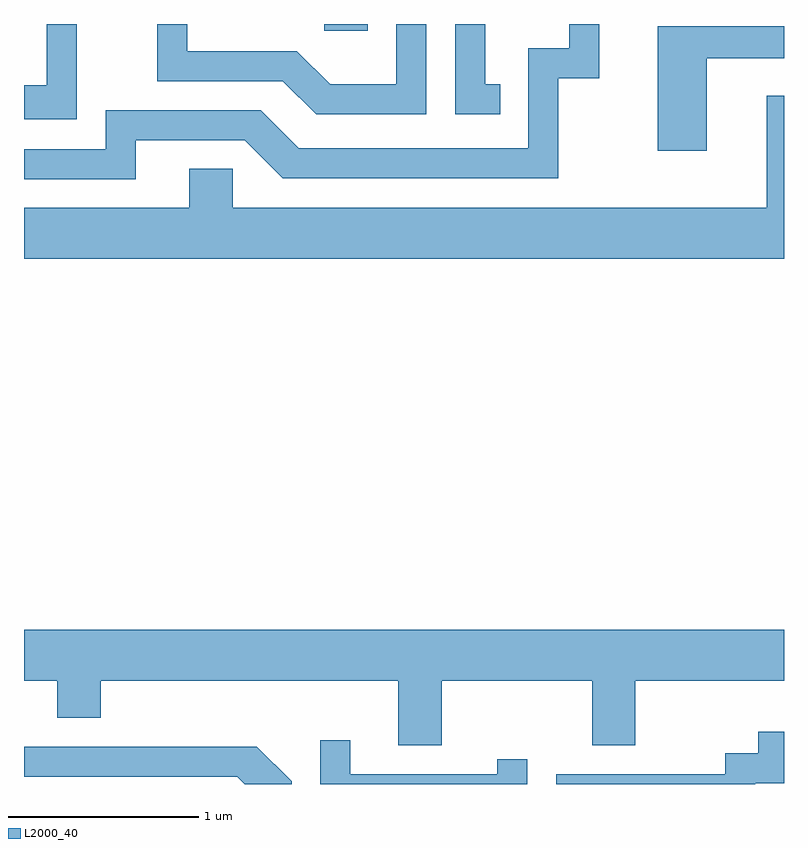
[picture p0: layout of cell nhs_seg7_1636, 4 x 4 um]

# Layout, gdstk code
import gdstk
lib = gdstk.Library(unit=1e-6, precision=1e-09)
def R(c, l, rs):  # rectangles x0, y0, x1, y1
    for r in rs: c.add(gdstk.rectangle(r[:2], r[2:], *l))
def P(c, l, *ps):  # polygons
    for p in ps: c.add(gdstk.Polygon(p, *l))
L2000_40 = (2000, 40)

nhs_seg7_1636 = lib.new_cell('nhs_seg7_1636')
R(nhs_seg7_1636, L2000_40, [(237.191,1682.216,237.419,1682.252)])
P(nhs_seg7_1636, L2000_40, [(235.889,1682.252),(235.731,1682.252),(235.731,1681.929),(235.611,1681.929),(235.611,1681.751),(235.889,1681.751)],
  [(236.199,1681.641),(236.774,1681.641),(236.974,1681.441),(238.424,1681.441),(238.424,1681.966),(238.639,1681.966),(238.639,1682.252),(238.481,1682.252),(238.481,1682.124),(238.266,1682.124),(238.266,1681.599),(237.057,1681.599),(236.857,1681.799),(236.041,1681.799),(236.041,1681.594),(235.611,1681.594),(235.611,1681.436),(236.199,1681.436)],
  [(238.118,1681.934),(238.039,1681.934),(238.039,1682.252),(237.881,1682.252),(237.881,1681.776),(238.118,1681.776)],
  [(237.729,1682.252),(237.571,1682.252),(237.571,1681.934),(237.222,1681.934),(237.047,1682.109),(236.469,1682.109),(236.469,1682.252),(236.311,1682.252),(236.311,1681.951),(236.974,1681.951),(237.149,1681.776),(237.729,1681.776)],
  [(239.204,1682.071),(239.611,1682.071),(239.611,1682.239),(238.946,1682.239),(238.946,1681.586),(239.204,1681.586)],
  [(239.611,1681.874),(239.521,1681.874),(239.521,1681.284),(236.709,1681.284),(236.709,1681.489),(236.481,1681.489),(236.481,1681.284),(235.611,1681.284),(235.611,1681.016),(239.611,1681.016)],
  [(237.809,1678.796),(238.601,1678.796),(238.601,1678.456),(238.829,1678.456),(238.829,1678.796),(239.611,1678.796),(239.611,1679.064),(235.611,1679.064),(235.611,1678.796),(235.786,1678.796),(235.786,1678.601),(236.014,1678.601),(236.014,1678.796),(237.581,1678.796),(237.581,1678.456),(237.809,1678.456)],
  [(239.459,1678.256),(239.611,1678.256),(239.611,1678.528),(239.476,1678.528),(239.476,1678.414),(239.301,1678.414),(239.301,1678.304),(238.411,1678.304),(238.411,1678.252),(239.459,1678.252)],
  [(238.259,1678.383),(238.101,1678.383),(238.101,1678.304),(237.329,1678.304),(237.329,1678.483),(237.171,1678.483),(237.171,1678.252),(238.259,1678.252)],
  [(237.019,1678.267),(236.837,1678.449),(235.611,1678.449),(235.611,1678.291),(236.734,1678.291),(236.773,1678.252),(237.019,1678.252)])

lib.write_gds('nhs_seg7_1636.gds')
